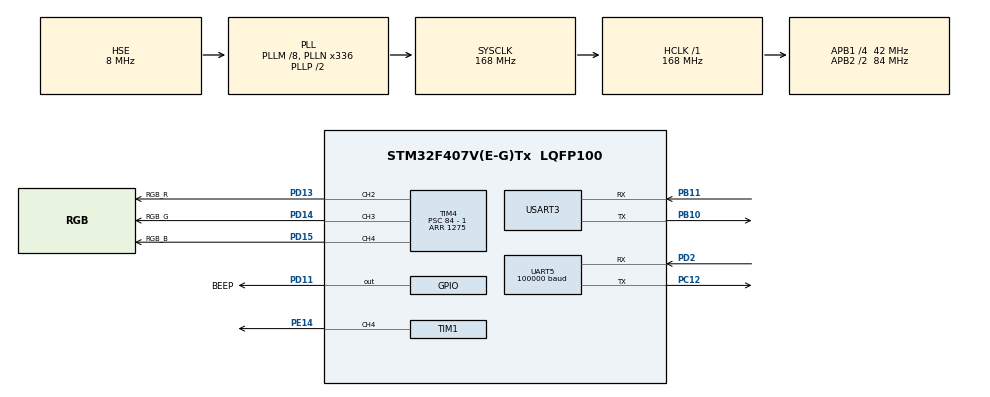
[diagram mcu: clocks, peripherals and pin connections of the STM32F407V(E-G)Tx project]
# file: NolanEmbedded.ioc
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Dma.Request0=USART3_RX
Dma.Request1=USART3_TX
Dma.Request2=TIM1_CH4/TRIG/COM
Dma.Request3=UART5_RX
Dma.TIM1_CH4/TRIG/COM.2.Direction=DMA_MEMORY_TO_PERIPH
Dma.TIM1_CH4/TRIG/COM.2.FIFOMode=DMA_FIFOMODE_DISABLE
Dma.TIM1_CH4/TRIG/COM.2.Instance=DMA2_Stream4
Dma.TIM1_CH4/TRIG/COM.2.MemDataAlignment=DMA_MDATAALIGN_HALFWORD
Dma.TIM1_CH4/TRIG/COM.2.MemInc=DMA_MINC_ENABLE
Dma.TIM1_CH4/TRIG/COM.2.Mode=DMA_NORMAL
Dma.TIM1_CH4/TRIG/COM.2.PeriphDataAlignment=DMA_PDATAALIGN_HALFWORD
Dma.TIM1_CH4/TRIG/COM.2.PeriphInc=DMA_PINC_DISABLE
Dma.TIM1_CH4/TRIG/COM.2.Priority=DMA_PRIORITY_MEDIUM
Dma.UART5_RX.3.Direction=DMA_PERIPH_TO_MEMORY
Dma.UART5_RX.3.FIFOMode=DMA_FIFOMODE_DISABLE
Dma.UART5_RX.3.Instance=DMA1_Stream0
Dma.UART5_RX.3.MemDataAlignment=DMA_MDATAALIGN_BYTE
Dma.UART5_RX.3.MemInc=DMA_MINC_ENABLE
Dma.UART5_RX.3.Mode=DMA_NORMAL
Dma.UART5_RX.3.PeriphDataAlignment=DMA_PDATAALIGN_BYTE
Dma.UART5_RX.3.PeriphInc=DMA_PINC_DISABLE
Dma.UART5_RX.3.Priority=DMA_PRIORITY_LOW
Dma.USART3_RX.0.Direction=DMA_PERIPH_TO_MEMORY
Dma.USART3_RX.0.FIFOMode=DMA_FIFOMODE_DISABLE
Dma.USART3_RX.0.Instance=DMA1_Stream1
Dma.USART3_RX.0.MemDataAlignment=DMA_MDATAALIGN_BYTE
Dma.USART3_RX.0.MemInc=DMA_MINC_ENABLE
Dma.USART3_RX.0.Mode=DMA_NORMAL
Dma.USART3_RX.0.PeriphDataAlignment=DMA_PDATAALIGN_BYTE
Dma.USART3_RX.0.PeriphInc=DMA_PINC_DISABLE
Dma.USART3_RX.0.Priority=DMA_PRIORITY_LOW
Dma.USART3_TX.1.Direction=DMA_MEMORY_TO_PERIPH
Dma.USART3_TX.1.FIFOMode=DMA_FIFOMODE_DISABLE
Dma.USART3_TX.1.Instance=DMA1_Stream3
Dma.USART3_TX.1.MemDataAlignment=DMA_MDATAALIGN_BYTE
Dma.USART3_TX.1.MemInc=DMA_MINC_ENABLE
Dma.USART3_TX.1.Mode=DMA_NORMAL
Dma.USART3_TX.1.PeriphDataAlignment=DMA_PDATAALIGN_BYTE
Dma.USART3_TX.1.PeriphInc=DMA_PINC_DISABLE
Dma.USART3_TX.1.Priority=DMA_PRIORITY_LOW
Mcu.Family=STM32F4
Mcu.Name=STM32F407V(E-G)Tx
Mcu.Package=LQFP100
NVIC.DMA1_Stream0_IRQn=true\:0\:0\:false\:false\:true\:false\:true\:true
NVIC.DMA1_Stream1_IRQn=true\:0\:0\:false\:false\:true\:false\:true\:true
NVIC.DMA1_Stream3_IRQn=true\:0\:0\:false\:false\:true\:false\:true\:true
NVIC.DMA2_Stream4_IRQn=true\:0\:0\:false\:false\:true\:false\:true\:true
NVIC.PriorityGroup=NVIC_PRIORITYGROUP_4
NVIC.TIM7_IRQn=true\:1\:0\:true\:false\:true\:false\:true\:true
NVIC.TimeBase=TIM7_IRQn
NVIC.TimeBaseIP=TIM7
NVIC.UART5_IRQn=true\:0\:0\:false\:false\:true\:true\:true\:true
NVIC.USART3_IRQn=true\:0\:0\:false\:false\:true\:true\:true\:true
PA13.Mode=Serial_Wire
PA13.Signal=SYS_JTMS-SWDIO
PA14.Mode=Serial_Wire
PA14.Signal=SYS_JTCK-SWCLK
PB10.Mode=Asynchronous
PB10.Signal=USART3_TX
PB11.Mode=Asynchronous
PB11.Signal=USART3_RX
PC12.Mode=Asynchronous
PC12.Signal=UART5_TX
PD11.GPIO_Label=BEEP
PD11.Signal=GPIO_Output
PD13.GPIO_Label=RGB_R
PD13.Signal=S_TIM4_CH2
PD14.GPIO_Label=RGB_G
PD14.Signal=S_TIM4_CH3
PD15.GPIO_Label=RGB_B
PD15.Signal=S_TIM4_CH4
PD2.Mode=Asynchronous
PD2.Signal=UART5_RX
PE14.Signal=S_TIM1_CH4
PH0-OSC_IN.Mode=HSE-External-Oscillator
PH0-OSC_IN.Signal=RCC_OSC_IN
PH1-OSC_OUT.Mode=HSE-External-Oscillator
PH1-OSC_OUT.Signal=RCC_OSC_OUT
ProjectManager.HeapSize=0x200
ProjectManager.StackSize=0x400
ProjectManager.TargetToolchain=MDK-ARM V5.32
RCC.48MHZClocksFreq_Value=84000000
RCC.AHBFreq_Value=168000000
RCC.APB1CLKDivider=RCC_HCLK_DIV4
RCC.APB1Freq_Value=42000000
RCC.APB1TimFreq_Value=84000000
RCC.APB2CLKDivider=RCC_HCLK_DIV2
RCC.APB2Freq_Value=84000000
RCC.APB2TimFreq_Value=168000000
RCC.CortexFreq_Value=168000000
RCC.HCLKFreq_Value=168000000
RCC.HSE_VALUE=8000000
RCC.HSI_VALUE=16000000
RCC.LSE_VALUE=32768
RCC.PLLM=8
RCC.PLLN=336
RCC.PLLSourceVirtual=RCC_PLLSOURCE_HSE
RCC.SYSCLKFreq_VALUE=168000000
RCC.SYSCLKSource=RCC_SYSCLKSOURCE_PLLCLK
RCC.VCOOutputFreq_Value=336000000
SH.S_TIM1_CH4.0=TIM1_CH4,PWM Generation4 CH4
SH.S_TIM4_CH2.0=TIM4_CH2,PWM Generation2 CH2
SH.S_TIM4_CH3.0=TIM4_CH3,PWM Generation3 CH3
SH.S_TIM4_CH4.0=TIM4_CH4,PWM Generation4 CH4
TIM1.AutoReloadPreload=TIM_AUTORELOAD_PRELOAD_ENABLE
TIM1.Channel-PWM\ Generation4\ CH4=TIM_CHANNEL_4
TIM1.OCMode_PWM-PWM\ Generation4\ CH4=TIM_OCMODE_PWM1
TIM1.Period=210
TIM1.TIM_MasterOutputTrigger=TIM_TRGO_RESET
TIM4.Channel-PWM\ Generation2\ CH2=TIM_CHANNEL_2
TIM4.Channel-PWM\ Generation3\ CH3=TIM_CHANNEL_3
TIM4.Channel-PWM\ Generation4\ CH4=TIM_CHANNEL_4
TIM4.OCPolarity_2=TIM_OCPOLARITY_LOW
TIM4.OCPolarity_3=TIM_OCPOLARITY_LOW
TIM4.OCPolarity_4=TIM_OCPOLARITY_LOW
TIM4.Period=1275
TIM4.Prescaler=84 - 1
UART5.BaudRate=100000
UART5.Mode=MODE_RX
UART5.Parity=PARITY_EVEN
UART5.StopBits=UART_STOPBITS_1
UART5.VirtualMode=Asynchronous
UART5.WordLength=WORDLENGTH_9B
USART3.VirtualMode=VM_ASYNC
VP_SYS_VS_tim7.Mode=TIM7
VP_TIM1_VS_ClockSourceINT.Mode=Internal
VP_TIM4_VS_ClockSourceINT.Mode=Internal
board=custom

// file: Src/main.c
/* USER CODE BEGIN Header */
/**
 ******************************************************************************
 * @file           : main.c
 * @brief          : Main program body
 ******************************************************************************
 * @attention
 *
 * Copyright (c) 2024 STMicroelectronics.
 * All rights reserved.
 *
 * This software is licensed under terms that can be found in the LICENSE file
 * in the root directory of this software component.
 * If no LICENSE file comes with this software, it is provided AS-IS.
 *
 ******************************************************************************
 */
/* USER CODE END Header */
#include "main.h"
#include "dma.h"
#include "tim.h"
#include "usart.h"
#include "gpio.h"

/* USER CODE BEGIN Includes */
#include "rtt.h"
#include "beep.h"
#include "led.h"
#include "commucation.h"
#include "freertos_start.h"
/* USER CODE END Includes */

void SystemClock_Config(void);

int main(void)
{

  /* MCU Configuration--------------------------------------------------------*/

  /* Reset of all peripherals, Initializes the Flash interface and the Systick. */
  HAL_Init();

  /* Configure the system clock */
  SystemClock_Config();

  /* Initialize all configured peripherals */
  MX_GPIO_Init();
  MX_DMA_Init();
  MX_USART3_UART_Init();
  MX_TIM4_Init();
  MX_TIM1_Init();
  MX_UART5_Init();
  /* USER CODE BEGIN 2 */
  beep_init();
  rtt_log_init();
#ifdef TEST_LED_RGB
  led_init();
#endif // TEST_LED_RGB
#ifdef TEST_WS2812B_LAMP
  ws2812b_init();
  ws2812b_config_color(DarkGreen);
#endif // TEST_WS2812B_LAMP
#ifndef __EASY_PRINT_TEST
#ifdef __COMMUCATION_PROTOCOL_TEST_DATA
  generate_test_data(0x0010, 0xFE55);
#endif //__COMMUCATION_PROTOCOL_TEST_DATA
#endif //__EASY_PRINT_TEST
  beep_start();
  HAL_Delay(1000);
  beep_stop();
  /* 启动FreeRTOS */
  freertos_start();
  /* USER CODE END 2 */

  /* Infinite loop */
  while (1)
  {

  }
}

void SystemClock_Config(void)
{
  RCC_OscInitTypeDef RCC_OscInitStruct = {0};
  RCC_ClkInitTypeDef RCC_ClkInitStruct = {0};

  /** Configure the main internal regulator output voltage
  */
  __HAL_RCC_PWR_CLK_ENABLE();
  __HAL_PWR_VOLTAGESCALING_CONFIG(PWR_REGULATOR_VOLTAGE_SCALE1);

  /** Initializes the RCC Oscillators according to the specified parameters
  * in the RCC_OscInitTypeDef structure.
  */
  RCC_OscInitStruct.OscillatorType = RCC_OSCILLATORTYPE_HSE;
  RCC_OscInitStruct.HSEState = RCC_HSE_ON;
  RCC_OscInitStruct.PLL.PLLState = RCC_PLL_ON;
  RCC_OscInitStruct.PLL.PLLSource = RCC_PLLSOURCE_HSE;
  RCC_OscInitStruct.PLL.PLLM = 8;
  RCC_OscInitStruct.PLL.PLLN = 336;
  RCC_OscInitStruct.PLL.PLLP = RCC_PLLP_DIV2;
  RCC_OscInitStruct.PLL.PLLQ = 4;
  if (HAL_RCC_OscConfig(&RCC_OscInitStruct) != HAL_OK)
  {
    Error_Handler();
  }

  /** Initializes the CPU, AHB and APB buses clocks
  */
  RCC_ClkInitStruct.ClockType = RCC_CLOCKTYPE_HCLK|RCC_CLOCKTYPE_SYSCLK
                              |RCC_CLOCKTYPE_PCLK1|RCC_CLOCKTYPE_PCLK2;
  RCC_ClkInitStruct.SYSCLKSource = RCC_SYSCLKSOURCE_PLLCLK;
  RCC_ClkInitStruct.AHBCLKDivider = RCC_SYSCLK_DIV1;
  RCC_ClkInitStruct.APB1CLKDivider = RCC_HCLK_DIV4;
  RCC_ClkInitStruct.APB2CLKDivider = RCC_HCLK_DIV2;

  if (HAL_RCC_ClockConfig(&RCC_ClkInitStruct, FLASH_LATENCY_5) != HAL_OK)
  {
    Error_Handler();
  }
}

void HAL_TIM_PeriodElapsedCallback(TIM_HandleTypeDef *htim)
{
  if (htim->Instance == TIM7) {
    HAL_IncTick();
  }
}

void Error_Handler(void)
{
  __disable_irq();
  while (1)
  {
  }
}
